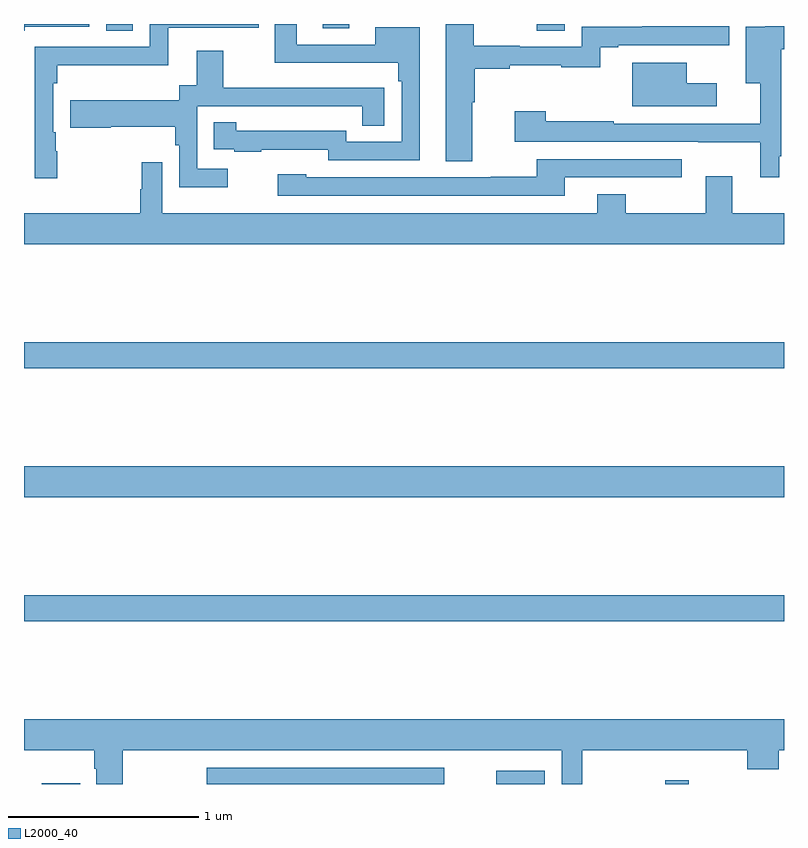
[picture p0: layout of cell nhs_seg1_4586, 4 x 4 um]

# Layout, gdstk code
import gdstk
lib = gdstk.Library(unit=1e-6, precision=1e-09)
def R(c, l, rs):  # rectangles x0, y0, x1, y1
    for r in rs: c.add(gdstk.rectangle(r[:2], r[2:], *l))
def P(c, l, *ps):  # polygons
    for p in ps: c.add(gdstk.Polygon(p, *l))
L2000_40 = (2000, 40)

nhs_seg1_4586 = lib.new_cell('nhs_seg1_4586')
R(nhs_seg1_4586, L2000_40, [(359.094,574.199,359.296,574.204), (359.962,574.199,361.213,574.284), (361.485,574.199,361.74,574.269), (362.374,574.199,362.498,574.219), (359,575.056,363,575.192), (359,575.708,363,575.872), (359,576.388,363,576.524), (359.432,578.164,359.572,578.199), (361.699,578.164,361.846,578.199), (360.572,578.176,360.712,578.199)])
P(nhs_seg1_4586, L2000_40, [(359.175,577.53),(359.166,577.53),(359.166,577.63),(359.154,577.63),(359.154,577.886),(359.174,577.886),(359.174,577.982),(359.758,577.982),(359.758,578.18),(360.235,578.18),(360.235,578.199),(359.661,578.199),(359.661,578.079),(359.057,578.079),(359.057,577.386),(359.175,577.386)],
  [(359.005,578.184),(359.344,578.184),(359.344,578.199),(359,578.199),(359,578.164),(359.005,578.164)],
  [(361.36,577.786),(361.373,577.786),(361.373,577.963),(361.556,577.963),(361.556,577.981),(361.828,577.981),(361.828,577.971),(362.032,577.971),(362.032,578.076),(362.128,578.076),(362.128,578.088),(362.713,578.088),(362.713,578.186),(362.254,578.186),(362.254,578.184),(361.935,578.184),(361.935,578.079),(361.61,578.079),(361.61,578.084),(361.368,578.084),(361.368,578.199),(361.22,578.199),(361.22,577.477),(361.36,577.477)],
  [(361.084,578.182),(360.848,578.182),(360.848,578.091),(360.436,578.091),(360.436,578.199),(360.32,578.199),(360.32,577.994),(360.97,577.994),(360.97,577.898),(360.987,577.898),(360.987,577.578),(360.696,577.578),(360.696,577.636),(360.117,577.636),(360.117,577.682),(359.998,577.682),(359.998,577.539),(360.106,577.539),(360.106,577.527),(360.248,577.527),(360.248,577.538),(360.6,577.538),(360.6,577.482),(361.084,577.482)],
  [(362.974,577.504),(362.986,577.504),(362.986,578.066),(363,578.066),(363,578.186),(362.902,578.186),(362.902,578.185),(362.798,578.185),(362.798,577.886),(362.875,577.886),(362.875,577.674),(362.105,577.674),(362.105,577.687),(361.745,577.687),(361.745,577.741),(361.584,577.741),(361.584,577.578),(362.548,577.578),(362.548,577.577),(362.876,577.577),(362.876,577.392),(362.974,577.392)],
  [(360.073,577.437),(359.913,577.437),(359.913,577.767),(360.145,577.767),(360.145,577.766),(360.781,577.766),(360.781,577.663),(360.896,577.663),(360.896,577.863),(360.794,577.863),(360.794,577.864),(360.049,577.864),(360.049,578.059),(359.909,578.059),(359.909,577.876),(359.817,577.876),(359.817,577.798),(359.244,577.798),(359.244,577.654),(359.456,577.654),(359.456,577.658),(359.797,577.658),(359.797,577.562),(359.817,577.562),(359.817,577.34),(360.073,577.34)],
  [(362.647,577.888),(362.488,577.888),(362.488,577.996),(362.201,577.996),(362.201,577.766),(362.647,577.766)],
  [(361.846,577.392),(362.461,577.392),(362.461,577.488),(361.699,577.488),(361.699,577.394),(361.456,577.394),(361.456,577.392),(360.486,577.392),(360.486,577.408),(360.336,577.408),(360.336,577.296),(361.846,577.296)],
  [(363,577.204),(362.728,577.204),(362.728,577.399),(362.588,577.399),(362.588,577.204),(362.166,577.204),(362.166,577.303),(362.018,577.303),(362.018,577.204),(359.727,577.204),(359.727,577.471),(359.619,577.471),(359.619,577.329),(359.611,577.329),(359.611,577.204),(359,577.204),(359,577.04),(363,577.04)],
  [(359.521,574.376),(361.83,574.376),(361.83,574.199),(361.939,574.199),(361.939,574.376),(362.807,574.376),(362.807,574.277),(362.972,574.277),(362.972,574.376),(363,574.376),(363,574.54),(359,574.54),(359,574.376),(359.369,574.376),(359.369,574.28),(359.381,574.28),(359.381,574.199),(359.521,574.199)])

lib.write_gds('nhs_seg1_4586.gds')
